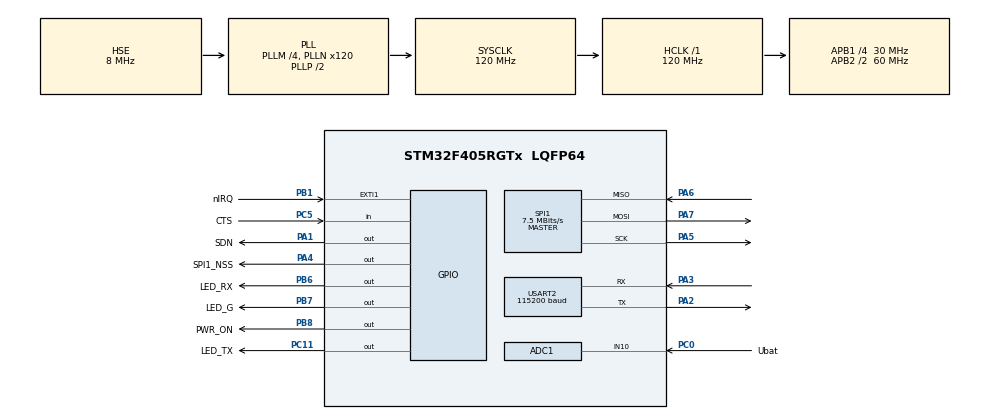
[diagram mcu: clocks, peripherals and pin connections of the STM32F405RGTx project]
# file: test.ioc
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Mcu.Family=STM32F4
PA6.Mode=Full_Duplex_Master
PH0-OSC_IN.Signal=RCC_OSC_IN
RCC.CortexFreq_Value=120000000
SPI1.VirtualType=VM_MASTER
PC0.GPIO_Label=Ubat
PB6.GPIO_Label=LED_RX
RCC.SYSCLKSource=RCC_SYSCLKSOURCE_PLLCLK
ProjectManager.StackSize=0x400
PC11.GPIO_PuPd=GPIO_NOPULL
NVIC.EXTI1_IRQn=true\:6\:0\:true\:false\:true\:true\:true\:true
SPI1.Direction=SPI_DIRECTION_2LINES
PB1.GPIO_PuPd=GPIO_NOPULL
RCC.HCLKFreq_Value=120000000
RCC.APB2TimFreq_Value=120000000
PB1.GPIO_ModeDefaultEXTI=GPIO_MODE_IT_FALLING
PB6.Signal=GPIO_Output
SPI1.CalculateBaudRate=7.5 MBits/s
PA1.GPIO_PuPd=GPIO_NOPULL
RCC.AHBFreq_Value=120000000
PH0-OSC_IN.Mode=HSE-External-Oscillator
ADC1.Channel-0\#ChannelRegularConversion=ADC_CHANNEL_10
RCC.HSE_VALUE=8000000
PA4.GPIO_PuPd=GPIO_NOPULL
PB3.Mode=Trace_Asynchronous_SW
PA4.GPIO_Speed=GPIO_SPEED_FREQ_VERY_HIGH
PA14.Mode=Trace_Asynchronous_SW
PB1.GPIO_Label=nIRQ
PC11.GPIO_Label=LED_TX
SPI1.DataSize=SPI_DATASIZE_8BIT
PB8.PinState=GPIO_PIN_SET
PC11.GPIO_Speed=GPIO_SPEED_FREQ_LOW
PB7.Signal=GPIO_Output
VP_FREERTOS_VS_CMSIS_V1.Mode=CMSIS_V1
PB7.PinState=GPIO_PIN_RESET
PB7.GPIO_Label=LED_G
PH1-OSC_OUT.Mode=HSE-External-Oscillator
Mcu.Package=LQFP64
PA6.Signal=SPI1_MISO
PB1.Signal=GPXTI1
NVIC.TimeBase=TIM3_IRQn
USART2.VirtualMode=VM_ASYNC
PB6.GPIO_ModeDefaultOutputPP=GPIO_MODE_OUTPUT_PP
NVIC.TimeBaseIP=TIM3
PA1.PinState=GPIO_PIN_RESET
PB8.GPIO_ModeDefaultOutputPP=GPIO_MODE_OUTPUT_PP
PA4.GPIO_ModeDefaultOutputPP=GPIO_MODE_OUTPUT_PP
RCC.APB2CLKDivider=RCC_HCLK_DIV2
RCC.APB1TimFreq_Value=60000000
PC5.Signal=GPIO_Input
PC0.GPIO_PuPd=GPIO_NOPULL
SPI1.BaudRatePrescaler=SPI_BAUDRATEPRESCALER_8
PA4.GPIO_Label=SPI1_NSS
PA3.Signal=USART2_RX
PA5.Mode=Full_Duplex_Master
PB7.GPIO_Speed=GPIO_SPEED_FREQ_LOW
PB7.GPIO_PuPd=GPIO_NOPULL
RCC.PLLSourceVirtual=RCC_PLLSOURCE_HSE
FREERTOS.Tasks01=defaultTask,0,128,StartDefaultTask,Default,NULL,Dynamic,NULL,NULL;myTask02,0,128,StartTask02,Default,NULL,Dynamic,NULL,NULL;myTask03,-3,128,StartTask03,Default,NULL,Dynamic,NULL,NULL
PA7.Mode=Full_Duplex_Master
PC11.Signal=GPIO_Output
PB6.GPIO_PuPd=GPIO_NOPULL
PB8.GPIO_PuPd=GPIO_NOPULL
PC0.Signal=ADCx_IN10
VP_RNG_VS_RNG.Mode=RNG_Activate
RCC.APB1CLKDivider=RCC_HCLK_DIV4
PC5.GPIO_PuPd=GPIO_NOPULL
NVIC.USART2_IRQn=true\:5\:0\:true\:false\:true\:true\:true\:true
USART2.BaudRate=115200
PA13.Signal=SYS_JTMS-SWDIO
PA3.Mode=Asynchronous
PB8.GPIO_Label=PWR_ON
VP_SYS_VS_tim3.Mode=TIM3
PA4.PinState=GPIO_PIN_RESET
ProjectManager.TargetToolchain=SW4STM32
RCC.LSE_VALUE=32768
PA1.Signal=GPIO_Output
PA5.Signal=SPI1_SCK
board=custom
RCC.VCOOutputFreq_Value=240000000
NVIC.TIM3_IRQn=true\:0\:0\:false\:false\:true\:false\:false\:true
RCC.APB2Freq_Value=60000000
PC11.PinState=GPIO_PIN_RESET
PC0.GPIO_Mode=GPIO_MODE_ANALOG
SPI1.Mode=SPI_MODE_MASTER
PB7.GPIO_ModeDefaultOutputPP=GPIO_MODE_OUTPUT_PP
PA1.GPIO_Speed=GPIO_SPEED_FREQ_VERY_HIGH
PA1.GPIO_Label=SDN
PH1-OSC_OUT.Signal=RCC_OSC_OUT
PC11.GPIO_ModeDefaultOutputPP=GPIO_MODE_OUTPUT_PP
PA13.Mode=Trace_Asynchronous_SW
Mcu.Name=STM32F405RGTx
PA2.Signal=USART2_TX
RCC.48MHZClocksFreq_Value=48000000
PB3.Signal=SYS_JTDO-SWO
PA4.Signal=GPIO_Output
RCC.SYSCLKFreq_VALUE=120000000
ADC1.master=1
PC5.GPIO_Label=CTS
PB6.PinState=GPIO_PIN_RESET
PA14.Signal=SYS_JTCK-SWCLK
PC5.GPIO_Mode=GPIO_MODE_INPUT
SH.ADCx_IN10.0=ADC1_IN10,IN10
ProjectManager.HeapSize=0x200
RCC.HSI_VALUE=16000000
RCC.PLLQ=5
NVIC.PriorityGroup=NVIC_PRIORITYGROUP_4
ADC1.NbrOfConversionFlag=1
RCC.PLLM=4
RCC.PLLN=120
PA2.Mode=Asynchronous
PB8.Signal=GPIO_Output
PB6.GPIO_Speed=GPIO_SPEED_FREQ_LOW
RCC.APB1Freq_Value=30000000
PB8.GPIO_Speed=GPIO_SPEED_FREQ_LOW
ADC1.ClockPrescaler=ADC_CLOCK_SYNC_PCLK_DIV4
PA7.Signal=SPI1_MOSI
PA1.GPIO_ModeDefaultOutputPP=GPIO_MODE_OUTPUT_PP

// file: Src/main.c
/* USER CODE BEGIN Header */
/**
  ******************************************************************************
  * @file           : main.c
  * @brief          : Main program body
  ******************************************************************************
  * @attention
  *
  * <h2><center>&copy; Copyright (c) 2020 STMicroelectronics.
  * All rights reserved.</center></h2>
  *
  * This software component is licensed by ST under Ultimate Liberty license
  * SLA0044, the "License"; You may not use this file except in compliance with
  * the License. You may obtain a copy of the License at:
  *                             www.st.com/SLA0044
  *
  ******************************************************************************
  */
/* USER CODE END Header */
#include "main.h"
#include "cmsis_os.h"
#include "adc.h"
#include "rng.h"
#include "spi.h"
#include "usart.h"
#include "gpio.h"

/* USER CODE BEGIN Includes */
#include "si4463.h"
#include "stdlib.h"
#include "stdio.h"
#include "string.h"
#include "delay_dwt.h"

/* USER CODE END Includes */

/* USER CODE BEGIN PTD */
si4463_t si4463;
/* USER CODE END PTD */

/* USER CODE BEGIN PV */
/*-------------- si4463 ---------------------*/
uint8_t incomingBuffer[RADIO_CONFIGURATION_DATA_RADIO_PACKET_LENGTH];
uint16_t i = 0;
int8_t rssi_value = 0;
uint8_t check_module_flag = 0;

/*-------------- UART ---------------------*/
char str[10];
uint8_t Rx_indx = 0;
char Rx_buffer[RADIO_CONFIGURATION_DATA_RADIO_PACKET_LENGTH];
uint8_t Rx_data[RADIO_CONFIGURATION_DATA_RADIO_PACKET_LENGTH] = {0,}, Transfer_cplt;
/*-----------------------------------------*/

/* USER CODE END PV */

void SystemClock_Config(void);
void MX_FREERTOS_Init(void);
/* USER CODE BEGIN PFP */
uint8_t SI4463_IsCTS(void);
void SI4463_SetShutdown(void);
void SI4463_ClearShutdown(void);
void SI4463_Select(void);
void SI4463_Deselect(void);
/* USER CODE END PFP */

int main(void)
{

  /* MCU Configuration--------------------------------------------------------*/

  /* Reset of all peripherals, Initializes the Flash interface and the Systick. */
  HAL_Init();

  /* Configure the system clock */
  SystemClock_Config();

  /* USER CODE BEGIN SysInit */
  DWT_Init();
  /* USER CODE END SysInit */

  /* Initialize all configured peripherals */
  MX_GPIO_Init();
  MX_SPI1_Init();
  MX_ADC1_Init();
  MX_USART2_UART_Init();
  MX_RNG_Init();
  /* USER CODE BEGIN 2 */

  //HAL_UART_Transmit(&huart2, incomingBuffer,RADIO_CONFIGURATION_DATA_RADIO_PACKET_LENGTH, 100);
  HAL_UART_Receive_IT (&huart2,  (uint8_t *)Rx_data, 1);

  /* Assign functions */
  si4463.IsClearToSend = SI4463_IsCTS;
  si4463.WriteRead = SI4463_WriteRead;
  si4463.SPIRead = SI4463_SPIRead;
  si4463.SPITransmit = SI4463_SPITransmit;
  si4463.Select = SI4463_Select;
  si4463.Deselect = SI4463_Deselect;
  si4463.SetShutdown = SI4463_SetShutdown;
  si4463.ClearShutdown = SI4463_ClearShutdown;
  si4463.DelayMs = DWT_Delay_ms;
  si4463.DelayUs = DWT_Delay_us;

  /* Disable interrupt pin for init Si4463 */
  HAL_NVIC_DisableIRQ(EXTI1_IRQn);

  SystemCheck();

  SI4463_Init(&si4463);
  SI4463_SetTxPower(&si4463,PaPwr100mW);
  /* Clear RX FIFO before starting RX packets */
  SI4463_ClearRxFifo(&si4463);

  /* Start RX mode.
   * SI4463_StartRx() put a chip in non-armed mode in cases:
   * - successfully receive a packet;
   * - invoked RX_TIMEOUT;
   * - invalid receive.
   * For receiveing next packet you have to invoke SI4463_StartRx() again!*/

  //SI4463_Rx_Hop	(&si4463, 0x42, 0x0e, 0x27, 0x63, 0x08, 0x77); // 440,500 MHz
  SI4463_StartRx(&si4463, 0, false, false, false);

  /* Enable interrupt pin and */
  HAL_NVIC_EnableIRQ(EXTI1_IRQn);

  /* Clear interrupts after enabling interrupt pin.
   * Without it may be situation when interrupt is asserted but pin not cleared.*/
  SI4463_ClearInterrupts(&si4463);
  /* USER CODE END 2 */

  /* Call init function for freertos objects (in freertos.c) */
  MX_FREERTOS_Init();
  /* Start scheduler */
  osKernelStart();

  /* We should never get here as control is now taken by the scheduler */
  /* Infinite loop */
  while (1)
  {

  }
}

void SystemClock_Config(void)
{
  RCC_OscInitTypeDef RCC_OscInitStruct = {0};
  RCC_ClkInitTypeDef RCC_ClkInitStruct = {0};

  /** Configure the main internal regulator output voltage
  */
  __HAL_RCC_PWR_CLK_ENABLE();
  __HAL_PWR_VOLTAGESCALING_CONFIG(PWR_REGULATOR_VOLTAGE_SCALE1);
  /** Initializes the RCC Oscillators according to the specified parameters
  * in the RCC_OscInitTypeDef structure.
  */
  RCC_OscInitStruct.OscillatorType = RCC_OSCILLATORTYPE_HSE;
  RCC_OscInitStruct.HSEState = RCC_HSE_ON;
  RCC_OscInitStruct.PLL.PLLState = RCC_PLL_ON;
  RCC_OscInitStruct.PLL.PLLSource = RCC_PLLSOURCE_HSE;
  RCC_OscInitStruct.PLL.PLLM = 4;
  RCC_OscInitStruct.PLL.PLLN = 120;
  RCC_OscInitStruct.PLL.PLLP = RCC_PLLP_DIV2;
  RCC_OscInitStruct.PLL.PLLQ = 5;
  if (HAL_RCC_OscConfig(&RCC_OscInitStruct) != HAL_OK)
  {
    Error_Handler();
  }
  /** Initializes the CPU, AHB and APB buses clocks
  */
  RCC_ClkInitStruct.ClockType = RCC_CLOCKTYPE_HCLK|RCC_CLOCKTYPE_SYSCLK
                              |RCC_CLOCKTYPE_PCLK1|RCC_CLOCKTYPE_PCLK2;
  RCC_ClkInitStruct.SYSCLKSource = RCC_SYSCLKSOURCE_PLLCLK;
  RCC_ClkInitStruct.AHBCLKDivider = RCC_SYSCLK_DIV1;
  RCC_ClkInitStruct.APB1CLKDivider = RCC_HCLK_DIV4;
  RCC_ClkInitStruct.APB2CLKDivider = RCC_HCLK_DIV2;

  if (HAL_RCC_ClockConfig(&RCC_ClkInitStruct, FLASH_LATENCY_3) != HAL_OK)
  {
    Error_Handler();
  }
}

/* USER CODE BEGIN 4 */

uint8_t SI4463_IsCTS(void)
{
	if((CTS_GPIO_Port->IDR & CTS_Pin) != (uint32_t)GPIO_PIN_RESET)
	{
		return 1;
	}
	else
	{
		return 0;
	}
}

void SI4463_WriteRead(const uint8_t * pTxData, uint8_t * pRxData, const uint16_t sizeTxData)
{
	HAL_SPI_TransmitReceive(&hspi1, (uint8_t *) pTxData, pRxData, sizeTxData,100);
}

void SI4463_SPIRead(const uint8_t * pRxData, const uint16_t sizeRxData)
{
	HAL_SPI_Receive(&hspi1, (uint8_t *) pRxData, sizeRxData, 100);
}

void SI4463_SPITransmit(const uint8_t * pTxData, const uint16_t sizeTxData)
{
	HAL_SPI_Transmit(&hspi1, (uint8_t *) pTxData, sizeTxData, 100);
}

void SI4463_SetShutdown(void)
{
	HAL_GPIO_WritePin(SDN_GPIO_Port, SDN_Pin, GPIO_PIN_SET);
}

void SI4463_ClearShutdown(void)
{
	HAL_GPIO_WritePin(SDN_GPIO_Port, SDN_Pin, GPIO_PIN_RESET);
}

void SI4463_Select(void)
{
	//HAL_GPIO_WritePin(SPI1_NSS_GPIO_Port, SPI1_NSS_Pin, GPIO_PIN_RESET);
	SPI1_NSS_GPIO_Port->BSRR = (uint32_t)SPI1_NSS_Pin << 16U;
	DWT_Delay_us(10);
}

void SI4463_Deselect(void)
{
	//HAL_GPIO_WritePin(SPI1_NSS_GPIO_Port, SPI1_NSS_Pin, GPIO_PIN_SET);
	SPI1_NSS_GPIO_Port->BSRR = SPI1_NSS_Pin;
	DWT_Delay_us(10);
}

void HAL_GPIO_EXTI_Callback(uint16_t GPIO_Pin)
{
  /* Prevent unused argument(s) compilation warning */
  UNUSED(GPIO_Pin);

  /* Clear incoming buffer */
  memset(incomingBuffer, 0x00, RADIO_CONFIGURATION_DATA_RADIO_PACKET_LENGTH);

  /* Get interrupts and work with it */
  SI4463_GetInterrupts(&si4463);

  /* Handling PH interrupts */
  if (si4463.interrupts.filterMatch)
  {
	  /* Handling this interrupt here */
	  /* Following instruction only for add breakpoints. May be deleted */
	  si4463.interrupts.filterMatch = false;
  }
  if (si4463.interrupts.filterMiss)
  {
	  /* Handling this interrupt here */
	  /* Following instruction only for add breakpoints. May be deleted */
	  si4463.interrupts.filterMiss = false;
  }
  if (si4463.interrupts.packetSent)
  {
	  /* Handling this interrupt here */
	  /* Clear TX FIFO */
	  SI4463_ClearTxFifo(&si4463);

	  /* Re-arm StartRX */
	  //SI4463_Rx_Hop	(&si4463, 0x42, 0x0e, 0x27, 0x63, 0x08, 0x77); // 440,500 MHz
 	  SI4463_StartRx(&si4463, 0, false, false, false);

	  /*Toggle led for indication*/
	  HAL_GPIO_WritePin(LED_TX_GPIO_Port,LED_TX_Pin,GPIO_PIN_SET);
	  /* Following instruction only for add breakpoints. May be deleted */
	  si4463.interrupts.packetSent = false;
  }
  if (si4463.interrupts.packetRx)
  {
	  /* Handling this interrupt here */
	  /* Get FIFO data */
	  SI4463_ReadRxFifo(&si4463, incomingBuffer, RADIO_CONFIGURATION_DATA_RADIO_PACKET_LENGTH);

	  HAL_UART_Transmit(&huart2, incomingBuffer, RADIO_CONFIGURATION_DATA_RADIO_PACKET_LENGTH, 100);
	  /* Clear RX FIFO */
	  SI4463_ClearRxFifo(&si4463);
	  /* Start RX again.
	   * It need because after successful receive a packet the chip change
	   * state to READY.
	   * There is re-armed mode for StartRx but it not correctly working */
	  //SI4463_Rx_Hop	(&si4463, 0x42, 0x0e, 0x27, 0x63, 0x08, 0x77); // 440,500 MHz
	  SI4463_StartRx(&si4463, 0, false, false, false);

	  /*Toggle led for indication*/
	  HAL_GPIO_WritePin(LED_RX_GPIO_Port,LED_RX_Pin,GPIO_PIN_SET);

	  /* Following instruction only for add breakpoints. May be deleted */
	  si4463.interrupts.packetRx = false;
  }
  if (si4463.interrupts.crcError)
  {
	  /* Handling this interrupt here */

	  /* Following instruction only for add breakpoints. May be deleted */
	  si4463.interrupts.crcError = false;
  }
  if (si4463.interrupts.txFifoAlmostEmpty)
  {
	  /* Handling this interrupt here */

	  /* Following instruction only for add breakpoints. May be deleted */
	  si4463.interrupts.txFifoAlmostEmpty = false;
  }
  if (si4463.interrupts.rxFifoAlmostFull)
  {
	  /* Handling this interrupt here */

	  /* Following instruction only for add breakpoints. May be deleted */
	  si4463.interrupts.rxFifoAlmostFull = false;
  }

  /* Handling Modem interrupts */
  if (si4463.interrupts.postambleDetect)
  {
	  /* Handling this interrupt here */
	  /* Following instruction only for add breakpoints. May be deleted */
	  si4463.interrupts.postambleDetect = false;
  }
  if (si4463.interrupts.invalidSync)
  {
	  /* Handling this interrupt here */
	  /* Following instruction only for add breakpoints. May be deleted */
	  si4463.interrupts.invalidSync = false;
  }
  if (si4463.interrupts.rssiJump)
  {
	  /* Handling this interrupt here */
	  /* Following instruction only for add breakpoints. May be deleted */
	  si4463.interrupts.rssiJump = false;
  }
  if (si4463.interrupts.rssi)
  {
	  /* Handling this interrupt here */
	  /* Following instruction only for add breakpoints. May be deleted */
	  si4463.interrupts.rssi = false;
  }
  if (si4463.interrupts.invalidPreamble)
  {
	  /* Handling this interrupt here */
	  /* Following instruction only for add breakpoints. May be deleted */
	  si4463.interrupts.invalidPreamble = false;
  }
  if (si4463.interrupts.preambleDetect)
  {
	  /* Handling this interrupt here */
	  /* Following instruction only for add breakpoints. May be deleted */
	  si4463.interrupts.preambleDetect = false;
  }
  if (si4463.interrupts.syncDetect)
  {
	  /* Handling this interrupt here */
	  /* Following instruction only for add breakpoints. May be deleted */
	  si4463.interrupts.syncDetect = false;
  }

  /* Handling Chip interrupts */
  if (si4463.interrupts.cal)
  {
	  /* Handling this interrupt here */
	  SI4463_GetChipStatus(&si4463);
	  /* Following instruction only for add breakpoints. May be deleted */
	  si4463.interrupts.cal = false;
  }
  if (si4463.interrupts.fifoUnderflowOverflowError)
  {
	  /* Handling this interrupt here */
	  /* Clear RX FIFO */
	  SI4463_ClearRxFifo(&si4463);
	  /* Claer Chip Status errors if exists */
	  SI4463_GetChipStatus(&si4463);
	  /* Following instruction only for add breakpoints. May be deleted */
	  si4463.interrupts.fifoUnderflowOverflowError = false;
  }
  if (si4463.interrupts.stateChange)
  {
	  /* Handling this interrupt here */
	  SI4463_GetChipStatus(&si4463);
	  /* Following instruction only for add breakpoints. May be deleted */
	  si4463.interrupts.stateChange = false;
  }
  if (si4463.interrupts.cmdError)
  {
	  /* Handling this interrupt here */
	  SI4463_GetChipStatus(&si4463);
	  /* Following instruction only for add breakpoints. May be deleted */
	  si4463.interrupts.stateChange = false;
  }
  if (si4463.interrupts.chipReady)
  {
	  /* Handling this interrupt here */
	  SI4463_GetChipStatus(&si4463);
	  /* Following instruction only for add breakpoints. May be deleted */
	  si4463.interrupts.chipReady = false;
  }
  if (si4463.interrupts.lowBatt)
  {
	  /* Handling this interrupt here */
	  SI4463_GetChipStatus(&si4463);
	  /* Following instruction only for add breakpoints. May be deleted */
	  si4463.interrupts.lowBatt = false;
  }
  if (si4463.interrupts.wut)
  {
	  /* Handling this interrupt here */
	  SI4463_GetChipStatus(&si4463);
	  /* Following instruction only for add breakpoints. May be deleted */
	  si4463.interrupts.wut = false;
  }

  /* Clear All interrupts before exit */
  SI4463_ClearAllInterrupts(&si4463);
}

void HAL_UART_RxCpltCallback(UART_HandleTypeDef *huart)
{
	if (huart->Instance == USART2)              //is current uart?
	{

		if (Rx_indx == 0)                       //if data is not being received
		{
			for (uint8_t i=0;i<64;i++) 			// 48
			{
				Rx_buffer[i]=0;				    // clear Rx_Buffer before receiving new data
			}
		}

		if (Rx_data[0]!=13)                     //if received data different from ascii 13 (enter)
		{
			Rx_buffer[Rx_indx++]= Rx_data[0];   // store data in buffer
		}

		else 									// if received data = 13
		{
			Rx_indx= 0;
			if(Rx_buffer > 1)
			{
				SI4463_Transmit(&si4463, 0x00, (uint8_t*)&Rx_buffer,0 /*sizeof(Rx_buffer)*/);
			}
			else if (!(strcmp(Rx_buffer, "tempC")))   // Start
			{
				flagRxCmdUART = cmdGetLocalTemp;
			}
			else if (!(strcmp(Rx_buffer, "3v3")))
			{
				flagRxCmdUART = cmdGetLocal3v3;
			}
			else if (!(strcmp(Rx_buffer, "bat")))
			{
				flagRxCmdUART = cmdGetLocalBat;
			}
			else if (!(strcmp(Rx_buffer, "Rbat")))
			{
				flagRxCmdUART = cmdGetRemoteBat;
			}
		}

		HAL_UART_Receive_IT (&huart2,  (uint8_t *)Rx_data, 1);    // activate receive
	}

}
void SystemCheck(void)
{
	BatCheck();
	SI4463_CheckModule();
}

void SI4463_CheckModule(void)
{
	uint8_t i;
	if(SI4463_CheckDevice(&si4463) == SI4463_OK)
	{
		for(i=0; i<6; i++)
		{
			HAL_GPIO_TogglePin(LED_TX_GPIO_Port,LED_TX_Pin);
			HAL_GPIO_TogglePin(LED_RX_GPIO_Port,LED_RX_Pin);
			DWT_Delay_ms(100);
		}
		HAL_UART_Transmit(&huart2, "+SI4463_INIT/OK\n", 15, 100);
	}
	else
	{
		for(i=0; i<6; i++)
		{
			HAL_GPIO_TogglePin(LED_RX_GPIO_Port,LED_RX_Pin);
			DWT_Delay_ms(100);
		}
		HAL_UART_Transmit(&huart2, "+SI4463_INIT/NO\n", 15, 100);
	}
}

void BatCheck(void)
{
	if(ADC_Get_Vbat() > 670)
		{
			if(ADC_Get_Vbat() < 690)
			{
				HAL_UART_Transmit(&huart2, "+LOWBAT\n", 7, 100);
			}
			else
			{
				//HAL_UART_Transmit(&huart2, "+BAT/OK\n", 7, 100);
			}
		}
		else
		{
			HAL_UART_Transmit(&huart2, "+BAT/NO\n", 7, 100);
			check_module_flag |= (1<<7);
			for(i=0; i<60; i++)
			{
				if(0 != (check_module_flag & (1<<7)) )
				{
					HAL_GPIO_WritePin(LED_TX_GPIO_Port,LED_TX_Pin,GPIO_PIN_RESET);
					break;
				}
			HAL_GPIO_TogglePin(LED_TX_GPIO_Port,LED_TX_Pin);
			DWT_Delay_ms(500);
			}
			HAL_UART_Transmit(&huart2, "+PWR_OFF\n", 8, 100);
			HAL_GPIO_WritePin(PWR_ON_GPIO_Port,PWR_ON_Pin,GPIO_PIN_RESET);
			//HAL_PWR_EnterSTOPMode(PWR_LOWPOWERREGULATOR_ON, PWR_STOPENTRY_WFI);
		}
}

uint8_t Check_UART_Rx_CMD(void)
{

	uint16_t U3v3 = 0;
	uint16_t c_temp = 0;
	uint16_t Ubat = 0;

	uint8_t ret = clearFlag;

	switch (flagRxCmdUART)
	{

		case cmdGetLocalTemp :

			c_temp = ((2194*SI4463_GetTempAdc(&si4463)) / 1000) - 2930;
			sprintf(str, "%d\n", c_temp / 10);
			HAL_UART_Transmit(&huart2, (uint8_t*)(&str), strlen(str), 100);
			ret = flagRxCmdUART;
			flagRxCmdUART = clearFlag;
			break;

		case cmdGetLocal3v3 :
			for(uint8_t i=0; i<10; i++)
			{
				U3v3 += (30*SI4463_GetBatAdc(&si4463))/128;
			}
			U3v3 = U3v3/10;
			sprintf(str, "%d.%.2d\n", U3v3 / 100, U3v3 % 100);
			HAL_UART_Transmit(&huart2, (uint8_t*)(&str), strlen(str), 100);
			ret = flagRxCmdUART;
			flagRxCmdUART = clearFlag;
			break;

		case cmdGetLocalBat :

			Ubat = ADC_Get_Vbat();
			sprintf(str, "%d.%d\n", Ubat / 100, Ubat % 100);
			HAL_UART_Transmit(&huart2, (uint8_t*)(&str), strlen(str), 100);
			ret = flagRxCmdUART;
			flagRxCmdUART = clearFlag;
			break;

		case cmdGetRemote3v3 :
			SI4463_Transmit(&si4463, 0x01, (uint8_t*)(&str), strlen(str));
			HAL_GPIO_WritePin(LED_TX_GPIO_Port,LED_TX_Pin,GPIO_PIN_SET);

			SI4463_GetChipStatus(&si4463);
			SI4463_GetInterrupts(&si4463);
			break;
		case cmdGetRemoteBat :
			outgoingBuffer[TransmitCMD] = cmdGetRemoteBat;
			SI4463_Transmit(&si4463, 0x01, (uint8_t*)(&outgoingBuffer[TransmitCMD]), RADIO_CONFIGURATION_DATA_RADIO_PACKET_LENGTH);
			HAL_GPIO_WritePin(LED_TX_GPIO_Port,LED_TX_Pin,GPIO_PIN_SET);
			flagRxCmdUART = clearFlag;
			//SI4463_GetChipStatus(&si4463);
			//SI4463_GetInterrupts(&si4463);
			break;
		case cmdGetRemoteTelemetry :
			SI4463_Transmit(&si4463, 0x01, (uint8_t*)(&str), strlen(str));
			HAL_GPIO_WritePin(LED_TX_GPIO_Port,LED_TX_Pin,GPIO_PIN_SET);

			SI4463_GetChipStatus(&si4463);
			SI4463_GetInterrupts(&si4463);
			break;
		case cmdTurnRight :
			break;
		case cmdTurnleft :
			break;
		case cmdGOForward :
			break;
		case cmdGoBack :
			break;
		case cmdSetTxPower :
			break;

		default :
			break;
	}
	return ret;
}
/* USER CODE END 4 */

void HAL_TIM_PeriodElapsedCallback(TIM_HandleTypeDef *htim)
{
  if (htim->Instance == TIM3) {
    HAL_IncTick();
  }
}

void Error_Handler(void)
{
}

/************************ (C) COPYRIGHT STMicroelectronics *****END OF FILE****/

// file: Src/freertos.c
/* USER CODE BEGIN Header */
/**
  ******************************************************************************
  * File Name          : freertos.c
  * Description        : Code for freertos applications
  ******************************************************************************
  * @attention
  *
  * <h2><center>&copy; Copyright (c) 2020 STMicroelectronics.
  * All rights reserved.</center></h2>
  *
  * This software component is licensed by ST under Ultimate Liberty license
  * SLA0044, the "License"; You may not use this file except in compliance with
  * the License. You may obtain a copy of the License at:
  *                             www.st.com/SLA0044
  *
  ******************************************************************************
  */
/* USER CODE END Header */

#include "FreeRTOS.h"
#include "task.h"
#include "main.h"
#include "cmsis_os.h"

/* USER CODE BEGIN Includes */
#include "si4463.h"
/* USER CODE END Includes */

/* USER CODE BEGIN PTD */
UART_HandleTypeDef huart2;
si4463_t si4463;
/* USER CODE END PTD */

/* USER CODE BEGIN Variables */
uint8_t outBuffer[64];
/* USER CODE END Variables */
osThreadId defaultTaskHandle;
osThreadId myTask02Handle;
osThreadId myTask03Handle;

void StartDefaultTask(void const * argument);
void StartTask02(void const * argument);
void StartTask03(void const * argument);

void MX_FREERTOS_Init(void); /* (MISRA C 2004 rule 8.1) */

/* GetIdleTaskMemory prototype (linked to static allocation support) */
void vApplicationGetIdleTaskMemory( StaticTask_t **ppxIdleTaskTCBBuffer, StackType_t **ppxIdleTaskStackBuffer, uint32_t *pulIdleTaskStackSize );

/* USER CODE BEGIN GET_IDLE_TASK_MEMORY */
static StaticTask_t xIdleTaskTCBBuffer;
static StackType_t xIdleStack[configMINIMAL_STACK_SIZE];

void vApplicationGetIdleTaskMemory( StaticTask_t **ppxIdleTaskTCBBuffer, StackType_t **ppxIdleTaskStackBuffer, uint32_t *pulIdleTaskStackSize )
{
  *ppxIdleTaskTCBBuffer = &xIdleTaskTCBBuffer;
  *ppxIdleTaskStackBuffer = &xIdleStack[0];
  *pulIdleTaskStackSize = configMINIMAL_STACK_SIZE;
  /* place for user code */
}
/* USER CODE END GET_IDLE_TASK_MEMORY */

void MX_FREERTOS_Init(void) {

  /* Create the thread(s) */
  /* definition and creation of defaultTask */
  osThreadDef(defaultTask, StartDefaultTask, osPriorityNormal, 0, 128);
  defaultTaskHandle = osThreadCreate(osThread(defaultTask), NULL);

  /* definition and creation of myTask02 */
  osThreadDef(myTask02, StartTask02, osPriorityNormal, 0, 128);
  myTask02Handle = osThreadCreate(osThread(myTask02), NULL);

  /* definition and creation of myTask03 */
  osThreadDef(myTask03, StartTask03, osPriorityIdle, 0, 128);
  myTask03Handle = osThreadCreate(osThread(myTask03), NULL);

}

void StartDefaultTask(void const * argument)
{
  /* USER CODE BEGIN StartDefaultTask */
  /* Infinite loop */
  for(;;)
  {
	  HAL_GPIO_WritePin(LED_RX_GPIO_Port,LED_RX_Pin,GPIO_PIN_RESET);
	  HAL_GPIO_WritePin(LED_TX_GPIO_Port,LED_TX_Pin,GPIO_PIN_RESET);
	  Check_UART_Rx_CMD();
	  osDelay(10);
  }
  /* USER CODE END StartDefaultTask */
}

void StartTask02(void const * argument)
{
  /* USER CODE BEGIN StartTask02 */
  /* Infinite loop */
  for(;;)
  {
	  outBuffer[0] = 1;
	  outBuffer[1] = 2;
	  outBuffer[2] = 3;
	  outBuffer[3] = 4;
	  outBuffer[4] = 5;
	  outBuffer[5] = 6;
	  outBuffer[6] = 7;
	  outBuffer[7] = 8;
	  outBuffer[8] = 9;
	  outBuffer[9] = 10;
	  outBuffer[10] = 11;
	  outBuffer[11] = 12;

	  //HAL_UART_Transmit(&huart2, (uint8_t *)outBuffer, 64, 1000);
	  SI4463_Transmit(&si4463, 0x00, (uint8_t *)outBuffer , 63);
	  osDelay(200);
  }
  /* USER CODE END StartTask02 */
}

void StartTask03(void const * argument)
{
  /* USER CODE BEGIN StartTask03 */
  /* Infinite loop */
  for(;;)
  {
	BatCheck();
    osDelay(5000);
  }
  /* USER CODE END StartTask03 */
}

/************************ (C) COPYRIGHT STMicroelectronics *****END OF FILE****/
